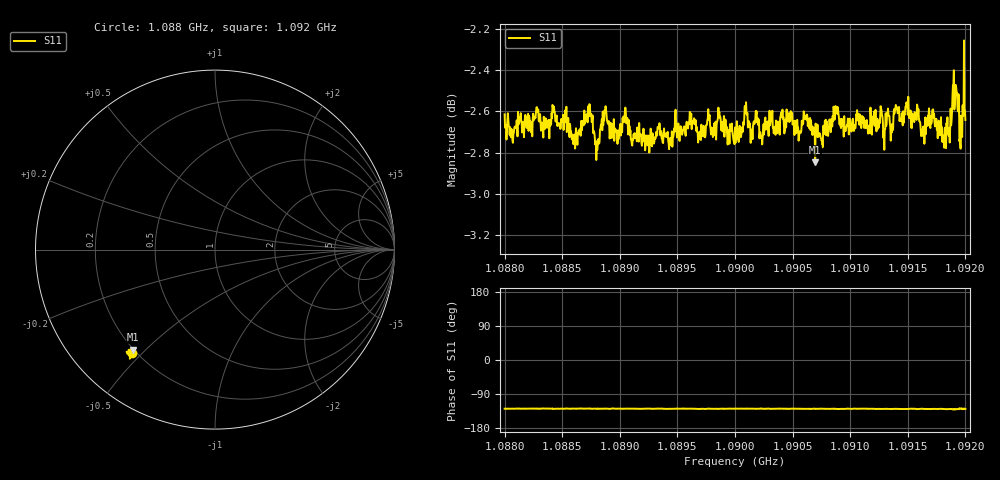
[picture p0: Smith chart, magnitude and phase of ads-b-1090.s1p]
! Calibrated averaged scanner-service zoom
# Hz S RI R 50
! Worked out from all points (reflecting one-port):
!   1001 points, 1.088 GHz to 1.092 GHz, reference 50 ohm
!   lowest |S11| = -2.8 dB at 1.0907 GHz (marker M1), VSWR 6.16, Z = 9.88 - j22.9 ohm
!   phase of S11 starts at -129 deg and turns -1 deg over the sweep
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1.088e9  -0.4614 -0.5786
1.0885e9  -0.4634 -0.5734
1.088648e9  -0.4541 -0.574
1.088724e9  -0.4617 -0.5826
1.0888e9  -0.4537 -0.5687
1.088872e9  -0.4603 -0.5811
1.089e9  -0.456 -0.5761
1.089292e9  -0.458 -0.5665
1.089348e9  -0.4558 -0.5769
1.089436e9  -0.455 -0.5712
1.0895e9  -0.4536 -0.5773
1.089696e9  -0.4613 -0.568
1.089852e9  -0.465 -0.5741
1.09e9  -0.4574 -0.5749
1.0905e9  -0.4576 -0.5762
1.090696e9  -0.4568 -0.5573
1.090892e9  -0.47 -0.5756
1.091e9  -0.4622 -0.5741
1.0915e9  -0.4693 -0.572
1.091536e9  -0.4589 -0.5735
1.09158e9  -0.4765 -0.5716
1.091624e9  -0.4571 -0.572
1.091696e9  -0.4696 -0.5647
1.091792e9  -0.4604 -0.5697
1.091844e9  -0.4711 -0.5692
1.091908e9  -0.4834 -0.5657
1.091952e9  -0.4448 -0.5788
1.092e9  -0.466 -0.572
